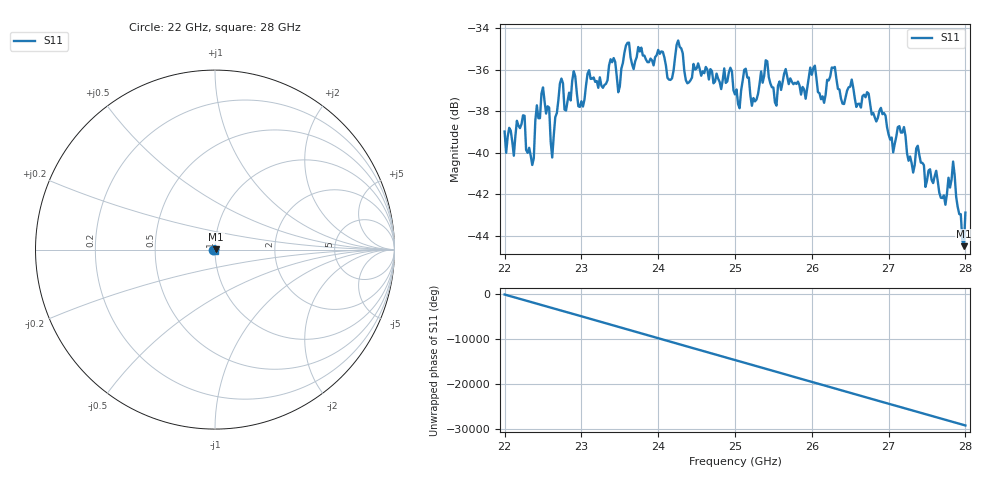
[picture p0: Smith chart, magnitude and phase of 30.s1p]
#  HZ  S  RI  R  50.00
! Rohde & Schwarz ZVA40 4Ports - Version 3.90 - 1145.1110k42 SN: 100403
! Date: 2023-10-04 06:08:07
! Measurement: S12
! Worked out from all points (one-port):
!   301 points, 22 GHz to 28 GHz, reference 50 ohm
!   lowest |S11| = -44.5 dB at 27.98 GHz (marker M1), VSWR 1.01, Z = 50.6 + j0.173 ohm
!   |S11| at or under -10 dB: start of sweep to end of sweep
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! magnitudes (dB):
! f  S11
! 22 GHz  -39.0
! 22.12 GHz  -40.1
! 22.26 GHz  -38.2
! 22.36 GHz  -40.6
! 22.5 GHz  -36.9
! 22.62 GHz  -40.2
! 22.76 GHz  -36.7
! 23.02 GHz  -37.8
! 23.42 GHz  -35.4
! 23.5 GHz  -36.8
! 23.6 GHz  -34.7
! 24.16 GHz  -36.5
! 24.26 GHz  -34.6
! 24.38 GHz  -36.7
! 25 GHz  -37.2
! 25.14 GHz  -36.0
! 25.22 GHz  -37.7
! 25.4 GHz  -35.6
! 25.54 GHz  -37.7
! 25.76 GHz  -36.7
! 26.5 GHz  -36.8
! 27.06 GHz  -40.0
! 27.2 GHz  -38.8
! 27.26 GHz  -40.4
! 27.74 GHz  -42.5
! 27.84 GHz  -40.4
! 27.98 GHz  -44.5
! 28 GHz  -42.9
